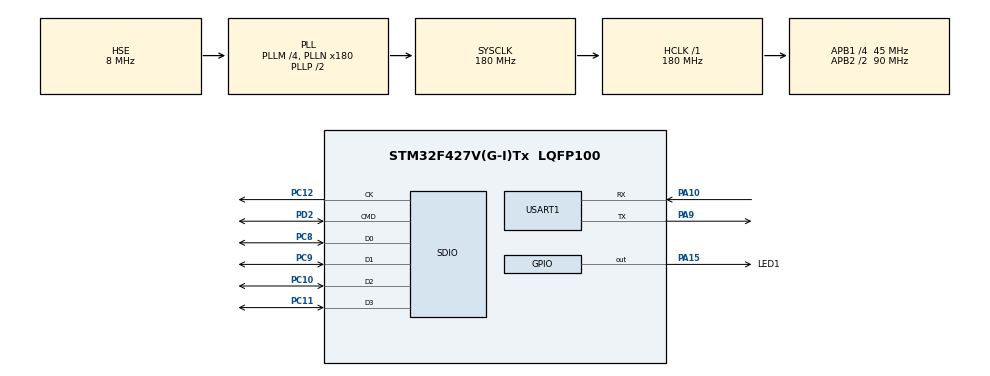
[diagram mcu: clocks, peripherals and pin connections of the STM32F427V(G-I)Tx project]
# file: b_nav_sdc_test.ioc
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Dma.Request0=USART1_TX
Dma.Request1=SDIO_RX
Dma.Request2=SDIO_TX
Dma.SDIO_RX.1.Direction=DMA_PERIPH_TO_MEMORY
Dma.SDIO_RX.1.FIFOMode=DMA_FIFOMODE_ENABLE
Dma.SDIO_RX.1.FIFOThreshold=DMA_FIFO_THRESHOLD_FULL
Dma.SDIO_RX.1.Instance=DMA2_Stream3
Dma.SDIO_RX.1.MemBurst=DMA_MBURST_INC4
Dma.SDIO_RX.1.MemDataAlignment=DMA_MDATAALIGN_WORD
Dma.SDIO_RX.1.MemInc=DMA_MINC_ENABLE
Dma.SDIO_RX.1.Mode=DMA_PFCTRL
Dma.SDIO_RX.1.PeriphBurst=DMA_PBURST_INC4
Dma.SDIO_RX.1.PeriphDataAlignment=DMA_PDATAALIGN_WORD
Dma.SDIO_RX.1.PeriphInc=DMA_PINC_DISABLE
Dma.SDIO_RX.1.Priority=DMA_PRIORITY_VERY_HIGH
Dma.SDIO_TX.2.Direction=DMA_MEMORY_TO_PERIPH
Dma.SDIO_TX.2.FIFOMode=DMA_FIFOMODE_ENABLE
Dma.SDIO_TX.2.FIFOThreshold=DMA_FIFO_THRESHOLD_FULL
Dma.SDIO_TX.2.Instance=DMA2_Stream6
Dma.SDIO_TX.2.MemBurst=DMA_MBURST_INC4
Dma.SDIO_TX.2.MemDataAlignment=DMA_MDATAALIGN_WORD
Dma.SDIO_TX.2.MemInc=DMA_MINC_ENABLE
Dma.SDIO_TX.2.Mode=DMA_PFCTRL
Dma.SDIO_TX.2.PeriphBurst=DMA_PBURST_INC4
Dma.SDIO_TX.2.PeriphDataAlignment=DMA_PDATAALIGN_WORD
Dma.SDIO_TX.2.PeriphInc=DMA_PINC_DISABLE
Dma.SDIO_TX.2.Priority=DMA_PRIORITY_VERY_HIGH
Dma.USART1_TX.0.Direction=DMA_MEMORY_TO_PERIPH
Dma.USART1_TX.0.FIFOMode=DMA_FIFOMODE_DISABLE
Dma.USART1_TX.0.Instance=DMA2_Stream7
Dma.USART1_TX.0.MemDataAlignment=DMA_MDATAALIGN_BYTE
Dma.USART1_TX.0.MemInc=DMA_MINC_ENABLE
Dma.USART1_TX.0.Mode=DMA_NORMAL
Dma.USART1_TX.0.PeriphDataAlignment=DMA_PDATAALIGN_BYTE
Dma.USART1_TX.0.PeriphInc=DMA_PINC_DISABLE
Dma.USART1_TX.0.Priority=DMA_PRIORITY_HIGH
Mcu.Family=STM32F4
Mcu.Name=STM32F427V(G-I)Tx
Mcu.Package=LQFP100
NVIC.DMA2_Stream3_IRQn=true\:2\:0\:true\:false\:true\:false\:true
NVIC.DMA2_Stream6_IRQn=true\:2\:0\:true\:false\:true\:false\:true
NVIC.DMA2_Stream7_IRQn=true\:0\:0\:false\:false\:true\:false\:true
NVIC.PriorityGroup=NVIC_PRIORITYGROUP_4
NVIC.SDIO_IRQn=true\:1\:0\:true\:false\:true\:true\:true
NVIC.TIM1_UP_TIM10_IRQn=true\:0\:0\:false\:false\:true\:true\:true
NVIC.USART1_IRQn=true\:0\:0\:false\:false\:true\:true\:true
PA10.Mode=Asynchronous
PA10.Signal=USART1_RX
PA13.Mode=Serial_Wire
PA13.Signal=SYS_JTMS-SWDIO
PA14.Mode=Serial_Wire
PA14.Signal=SYS_JTCK-SWCLK
PA15.GPIO_Label=LED1
PA15.PinState=GPIO_PIN_RESET
PA15.Signal=GPIO_Output
PA9.Mode=Asynchronous
PA9.Signal=USART1_TX
PC10.Mode=SD_4_bits_Wide_bus
PC10.Signal=SDIO_D2
PC11.Mode=SD_4_bits_Wide_bus
PC11.Signal=SDIO_D3
PC12.Mode=SD_4_bits_Wide_bus
PC12.Signal=SDIO_CK
PC8.Mode=SD_4_bits_Wide_bus
PC8.Signal=SDIO_D0
PC9.Mode=SD_4_bits_Wide_bus
PC9.Signal=SDIO_D1
PD2.Mode=SD_4_bits_Wide_bus
PD2.Signal=SDIO_CMD
PH0/OSC_IN.Mode=HSE-External-Oscillator
PH0/OSC_IN.Signal=RCC_OSC_IN
PH1/OSC_OUT.Mode=HSE-External-Oscillator
PH1/OSC_OUT.Signal=RCC_OSC_OUT
ProjectManager.HeapSize=0x200
ProjectManager.StackSize=0x1000
ProjectManager.TargetToolchain=MDK-ARM V5.27
RCC.48MHZClocksFreq_Value=45000000
RCC.AHBFreq_Value=180000000
RCC.APB1CLKDivider=RCC_HCLK_DIV4
RCC.APB1Freq_Value=45000000
RCC.APB1TimFreq_Value=90000000
RCC.APB2CLKDivider=RCC_HCLK_DIV2
RCC.APB2Freq_Value=90000000
RCC.APB2TimFreq_Value=180000000
RCC.CortexFreq_Value=180000000
RCC.HCLKFreq_Value=180000000
RCC.HSE_VALUE=8000000
RCC.HSI_VALUE=16000000
RCC.LSE_VALUE=32768
RCC.PLLM=4
RCC.PLLN=180
RCC.PLLQ=8
RCC.PLLSourceVirtual=RCC_PLLSOURCE_HSE
RCC.SYSCLKFreq_VALUE=180000000
RCC.SYSCLKSource=RCC_SYSCLKSOURCE_PLLCLK
RCC.VCOOutputFreq_Value=360000000
TIM1.Period=20000-1
TIM1.Prescaler=1800-1
USART1.VirtualMode=VM_ASYNC
VP_TIM1_VS_ClockSourceINT.Mode=Internal
board=custom

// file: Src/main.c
/* USER CODE BEGIN Header */
/**
  ******************************************************************************
  * @file           : main.c
  * @brief          : Main program body
  ******************************************************************************
  * @attention
  *
  * <h2><center>&copy; Copyright (c) 2021 STMicroelectronics.
  * All rights reserved.</center></h2>
  *
  * This software component is licensed by ST under BSD 3-Clause license,
  * the "License"; You may not use this file except in compliance with the
  * License. You may obtain a copy of the License at:
  *                        opensource.org/licenses/BSD-3-Clause
  *
  ******************************************************************************
  */
/* USER CODE END Header */

#include "main.h"
#include "dma.h"
#include "sdio.h"
#include "tim.h"
#include "usart.h"
#include "gpio.h"

/* USER CODE BEGIN Includes */
#include "my_printf.h"
#include "string.h"
#include "dwt.h"
/* USER CODE END Includes */

void SystemClock_Config(void);

int main(void)
{
  /* USER CODE BEGIN 1 */
  dwt_init();
  /* USER CODE END 1 */

  /* MCU Configuration--------------------------------------------------------*/

  /* Reset of all peripherals, Initializes the Flash interface and the Systick. */
  HAL_Init();

  /* Configure the system clock */
  SystemClock_Config();

  /* Initialize all configured peripherals */
  MX_GPIO_Init();
  MX_DMA_Init();
  MX_USART1_UART_Init();
  MX_SDIO_SD_Init();
  MX_TIM1_Init();
  /* USER CODE BEGIN 2 */

  SDIO_ShowInfo();
  uint8_t t = 0;
  HAL_UART_Receive(&huart1, &t, 1, 1000000);
//  HAL_TIM_Base_Start_IT(&htim1);

  /* USER CODE END 2 */

  /* Infinite loop */
  while (1)
  {

    /* USER CODE BEGIN 3 */
    const uint32_t delta_tus = 50000;

    const uint32_t BUF_SIZE = 2048;
    __align(4) uint8_t buf[BUF_SIZE];
    for (int i=0;i<BUF_SIZE;i++)
    {
        buf[i] = 'A';
    }

    for(int i=5000; i<9000; i+=4)
    {
        HAL_StatusTypeDef state;
        HAL_GPIO_WritePin(LED1_GPIO_Port, LED1_Pin, GPIO_PIN_SET);
        state = SDIO_Write_Sector(i, 4, buf);
        HAL_GPIO_WritePin(LED1_GPIO_Port, LED1_Pin, GPIO_PIN_RESET);
        if(state == HAL_OK)
            dwt_delay_micros(delta_tus);
        else
            dwt_delay_micros(100000);
    }

    HAL_Delay(20000000);

  }
  /* USER CODE END 3 */
}

void SystemClock_Config(void)
{
  RCC_OscInitTypeDef RCC_OscInitStruct = {0};
  RCC_ClkInitTypeDef RCC_ClkInitStruct = {0};

  /** Configure the main internal regulator output voltage
  */
  __HAL_RCC_PWR_CLK_ENABLE();
  __HAL_PWR_VOLTAGESCALING_CONFIG(PWR_REGULATOR_VOLTAGE_SCALE1);
  /** Initializes the CPU, AHB and APB busses clocks
  */
  RCC_OscInitStruct.OscillatorType = RCC_OSCILLATORTYPE_HSE;
  RCC_OscInitStruct.HSEState = RCC_HSE_BYPASS;
  RCC_OscInitStruct.PLL.PLLState = RCC_PLL_ON;
  RCC_OscInitStruct.PLL.PLLSource = RCC_PLLSOURCE_HSE;
  RCC_OscInitStruct.PLL.PLLM = 4;
  RCC_OscInitStruct.PLL.PLLN = 180;
  RCC_OscInitStruct.PLL.PLLP = RCC_PLLP_DIV2;
  RCC_OscInitStruct.PLL.PLLQ = 8;
  if (HAL_RCC_OscConfig(&RCC_OscInitStruct) != HAL_OK)
  {
    Error_Handler();
  }
  /** Activate the Over-Drive mode
  */
  if (HAL_PWREx_EnableOverDrive() != HAL_OK)
  {
    Error_Handler();
  }
  /** Initializes the CPU, AHB and APB busses clocks
  */
  RCC_ClkInitStruct.ClockType = RCC_CLOCKTYPE_HCLK|RCC_CLOCKTYPE_SYSCLK
                              |RCC_CLOCKTYPE_PCLK1|RCC_CLOCKTYPE_PCLK2;
  RCC_ClkInitStruct.SYSCLKSource = RCC_SYSCLKSOURCE_PLLCLK;
  RCC_ClkInitStruct.AHBCLKDivider = RCC_SYSCLK_DIV1;
  RCC_ClkInitStruct.APB1CLKDivider = RCC_HCLK_DIV4;
  RCC_ClkInitStruct.APB2CLKDivider = RCC_HCLK_DIV2;

  if (HAL_RCC_ClockConfig(&RCC_ClkInitStruct, FLASH_LATENCY_5) != HAL_OK)
  {
    Error_Handler();
  }
}

/* USER CODE BEGIN 4 */

void HAL_TIM_PeriodElapsedCallback(TIM_HandleTypeDef *htim)
{
    HAL_GPIO_TogglePin(LED1_GPIO_Port, LED1_Pin);
}
/* USER CODE END 4 */

void Error_Handler(void)
{
}

/************************ (C) COPYRIGHT STMicroelectronics *****END OF FILE****/
